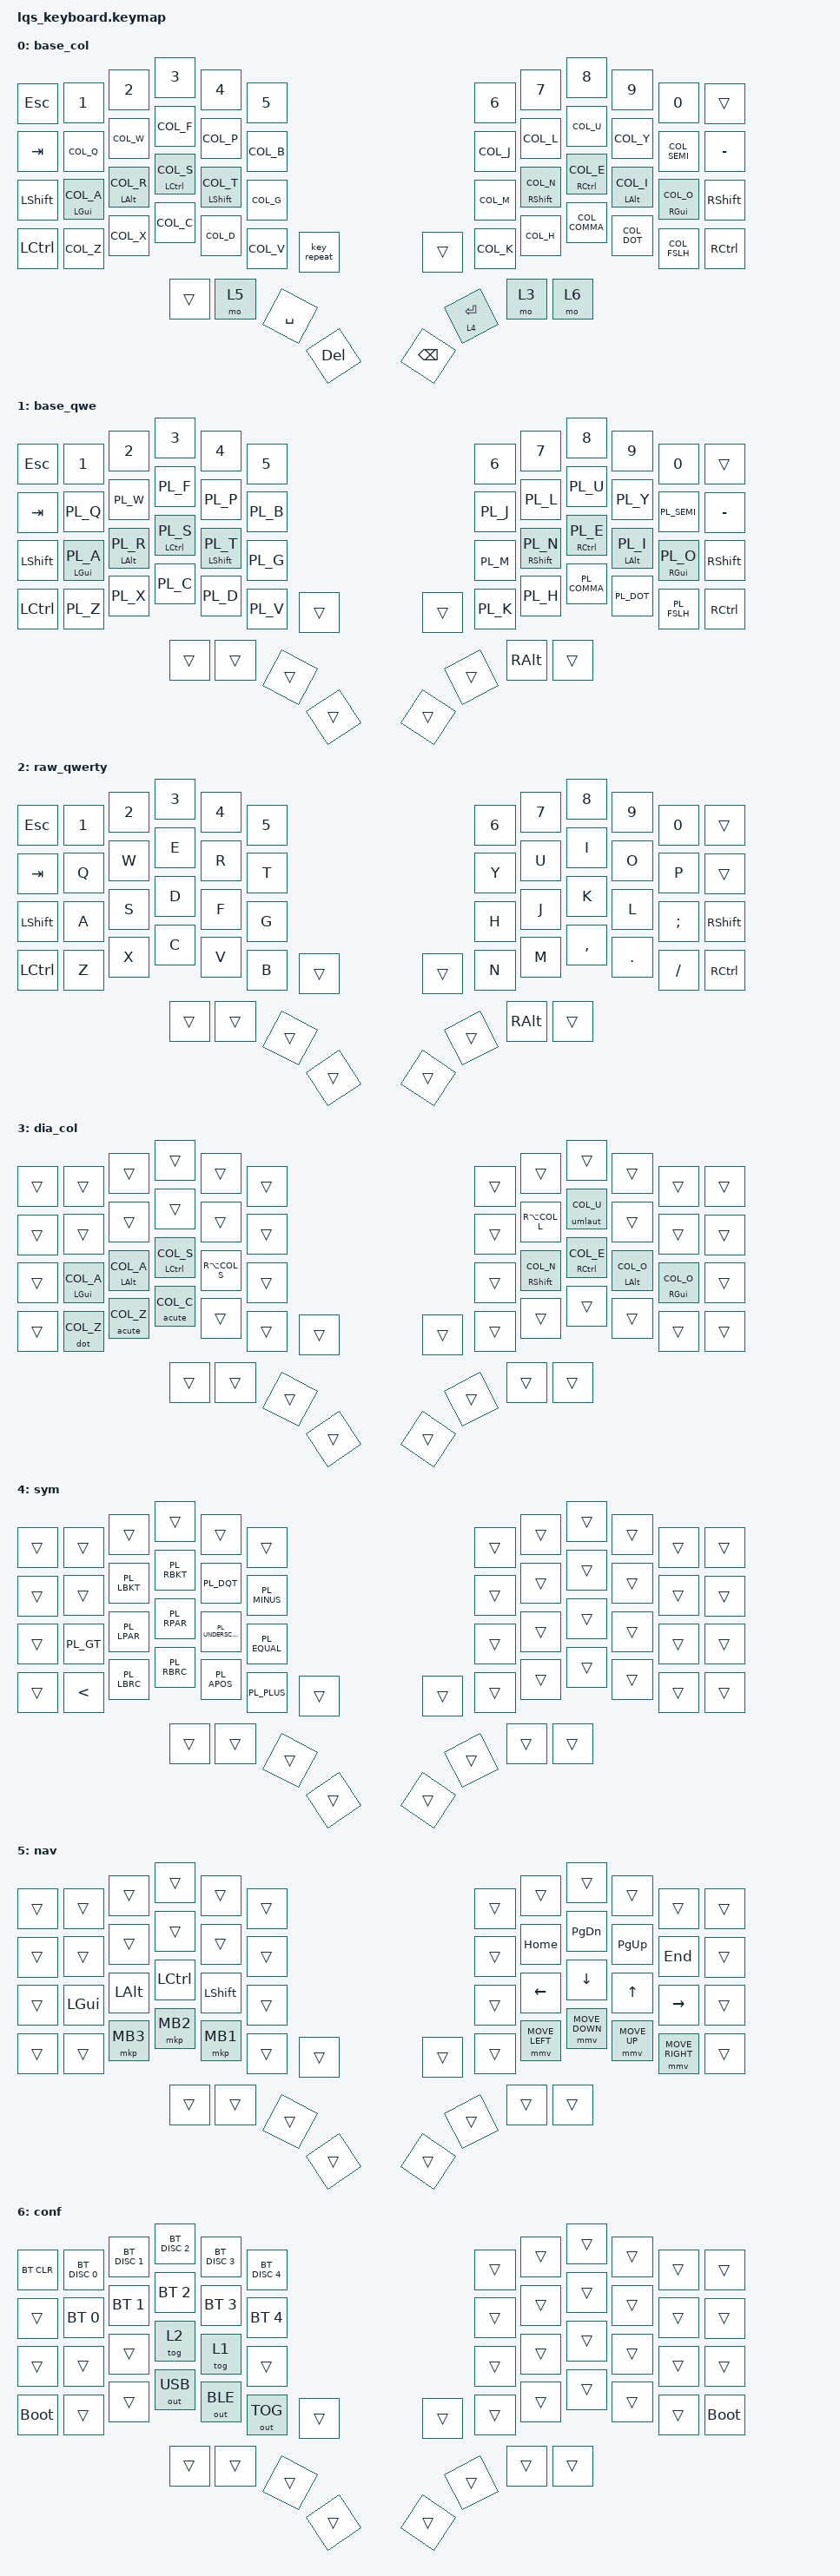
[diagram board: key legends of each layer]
/*
 * Copyright (c) 2020 The ZMK Contributors
 *
 * SPDX-License-Identifier: MIT
 */

#include "keys_pl_programmers.h"
#include "keys_colemak.h"
#include <behaviors/rgbled_widget.dtsi>
#include <behaviors.dtsi>
#include <dt-bindings/zmk/bt.h>
#include <dt-bindings/zmk/keys.h>
#include <dt-bindings/zmk/outputs.h>
#include <dt-bindings/zmk/pointing.h>

// key numbering
//  +-------------------+           +-------------------+
//  | 0  1  2  3  4  5  |           | 6  7  8  9  10 11 |
//  | 12 13 14 15 16 17 |           | 18 19 20 21 22 23 |
//  | 24 25 26 27 28 29 +--+     +--+ 30 31 32 33 34 35 |
//  | 36 37 38 39 40 41 42 |     | 43 44 45 46 47 48 49 |
//  +--------+ 50 51 52 53 |     | 54 55 56 57 +--------+
//           +-------------+     +-------------+

#define KEYS_L 0 1 2 3 4 5 12 13 14 15 16 17 24 25 26 27 28 29 36 37 38 39 40 41
#define KEYS_R 6 7 8 9 10 11 18 19 20 21 22 23 30 31 32 33 34 35 44 45 46 47 48 49
#define THUMB_L 50 51 52 53 42
#define THUMB_R 54 55 56 57 43

/ {
    behaviors {
        hml: hml {
            compatible = "zmk,behavior-hold-tap";
            #binding-cells = <2>;
            flavor = "balanced";
            tapping-term-ms = <280>;
            quick-tap-ms = <175>;
            require-prior-idle-ms = <150>;
            bindings = <&kp>, <&kp>;

            hold-trigger-key-positions = <KEYS_R THUMB_L THUMB_R>;
            hold-trigger-on-release;
            label = "Home row mod left";
        };

        hmr: hmr {
            compatible = "zmk,behavior-hold-tap";
            #binding-cells = <2>;
            flavor = "balanced";
            tapping-term-ms = <280>;
            quick-tap-ms = <175>;
            require-prior-idle-ms = <150>;
            bindings = <&kp>, <&kp>;

            hold-trigger-key-positions = <KEYS_L THUMB_L THUMB_R>;
            hold-trigger-on-release;
            label = "Home row mod right";
        };

        hmla: hmla {
            compatible = "zmk,behavior-hold-tap";
            #binding-cells = <2>;
            flavor = "balanced";
            tapping-term-ms = <280>;
            quick-tap-ms = <175>;
            require-prior-idle-ms = <150>;
            bindings = <&kp>, <&acute>;

            hold-trigger-key-positions = <KEYS_R THUMB_L THUMB_R>;
            hold-trigger-on-release;
            label = "Home row mod left acute";
        };

        hmra: hmra {
            compatible = "zmk,behavior-hold-tap";
            #binding-cells = <2>;
            flavor = "balanced";
            tapping-term-ms = <280>;
            quick-tap-ms = <175>;
            require-prior-idle-ms = <150>;
            bindings = <&kp>, <&acute>;

            hold-trigger-key-positions = <KEYS_L THUMB_L THUMB_R>;
            hold-trigger-on-release;
            label = "Home row mod right acute";
        };

        hmlo: hmlo {
            compatible = "zmk,behavior-hold-tap";
            #binding-cells = <2>;
            flavor = "balanced";
            tapping-term-ms = <280>;
            quick-tap-ms = <175>;
            require-prior-idle-ms = <150>;
            bindings = <&kp>, <&ogonek>;

            hold-trigger-key-positions = <KEYS_R THUMB_L THUMB_R>;
            hold-trigger-on-release;
            label = "Home row mod left ogonek";
        };

        hmro: hmro {
            compatible = "zmk,behavior-hold-tap";
            #binding-cells = <2>;
            flavor = "balanced";
            tapping-term-ms = <280>;
            quick-tap-ms = <175>;
            require-prior-idle-ms = <150>;
            bindings = <&kp>, <&ogonek>;

            hold-trigger-key-positions = <KEYS_L THUMB_L THUMB_R>;
            hold-trigger-on-release;
            label = "Home row mod right ogonek";
        };

        hmlu: hmlu {
            compatible = "zmk,behavior-hold-tap";
            #binding-cells = <2>;
            flavor = "balanced";
            tapping-term-ms = <280>;
            quick-tap-ms = <175>;
            require-prior-idle-ms = <150>;
            bindings = <&kp>, <&umlaut>;

            hold-trigger-key-positions = <KEYS_R THUMB_L THUMB_R>;
            hold-trigger-on-release;
            label = "Home row mod left umlaut";
        };

        hmru: hmru {
            compatible = "zmk,behavior-hold-tap";
            #binding-cells = <2>;
            flavor = "balanced";
            tapping-term-ms = <280>;
            quick-tap-ms = <175>;
            require-prior-idle-ms = <150>;
            bindings = <&kp>, <&umlaut>;

            hold-trigger-key-positions = <KEYS_L THUMB_L THUMB_R>;
            hold-trigger-on-release;
            label = "Home row mod right umlaut";
        };
    };

    macros {
        ogonek: col_ogon {
            compatible = "zmk,behavior-macro-one-param";
            #binding-cells = <1>;
            bindings = <&kp RA(COL_G) &macro_param_1to1 &kp MACRO_PLACEHOLDER>;
            label = "OGONEK";
        };

        acute: acute {
            compatible = "zmk,behavior-macro-one-param";
            #binding-cells = <1>;
            bindings = <&kp RA(COL_T) &macro_param_1to1 &kp MACRO_PLACEHOLDER>;
            label = "ACUTE";
        };

        dot: dot {
            compatible = "zmk,behavior-macro-one-param";
            #binding-cells = <1>;
            bindings = <&kp RA(DOT) &macro_param_1to1 &kp MACRO_PLACEHOLDER>;
            label = "DOT";
        };

        umlaut: umlaut {
            compatible = "zmk,behavior-macro-one-param";
            #binding-cells = <1>;
            bindings = <&kp RA(COL_D) &macro_param_1to1 &kp MACRO_PLACEHOLDER>;
            label = "UMLAUT";
        };
    };

    keymap {
        compatible = "zmk,keymap";

        base_col {
            bindings = <
&kp ESC           &kp N1           &kp N2           &kp N3            &kp N4             &kp N5                                   &kp N6       &kp N7             &kp N8            &kp N9           &kp N0           &trans
&kp TAB           &kp COL_Q        &kp COL_W        &kp COL_F         &kp COL_P          &kp COL_B                                &kp COL_J    &kp COL_L          &kp COL_U         &kp COL_Y        &kp COL_SEMI     &kp MINUS
&kp LEFT_SHIFT    &hml LGUI COL_A  &hml LALT COL_R  &hml LCTRL COL_S  &hml LSHIFT COL_T  &kp COL_G                                &kp COL_M    &hmr RSHIFT COL_N  &hmr RCTRL COL_E  &hmr LALT COL_I  &hmr RGUI COL_O  &kp RSHIFT
&kp LEFT_CONTROL  &kp COL_Z        &kp COL_X        &kp COL_C         &kp COL_D          &kp COL_V  &key_repeat    &trans         &kp COL_K    &kp COL_H          &kp COL_COMMA     &kp COL_DOT      &kp COL_FSLH     &kp RIGHT_CONTROL
                                                    &trans            &mo 5              &kp SPACE  &kp DEL        &kp BACKSPACE  &lt 4 ENTER  &mo 3              &mo 6
            >;
        };

        base_qwe {
            bindings = <
&kp ESC           &kp N1          &kp N2          &kp N3           &kp N4            &kp N5                      &kp N6    &kp N7            &kp N8           &kp N9          &kp N0          &trans
&kp TAB           &kp PL_Q        &kp PL_W        &kp PL_F         &kp PL_P          &kp PL_B                    &kp PL_J  &kp PL_L          &kp PL_U         &kp PL_Y        &kp PL_SEMI     &kp MINUS
&kp LEFT_SHIFT    &hml LGUI PL_A  &hml LALT PL_R  &hml LCTRL PL_S  &hml LSHIFT PL_T  &kp PL_G                    &kp PL_M  &hmr RSHIFT PL_N  &hmr RCTRL PL_E  &hmr LALT PL_I  &hmr RGUI PL_O  &kp RSHIFT
&kp LEFT_CONTROL  &kp PL_Z        &kp PL_X        &kp PL_C         &kp PL_D          &kp PL_V  &trans    &trans  &kp PL_K  &kp PL_H          &kp PL_COMMA     &kp PL_DOT      &kp PL_FSLH     &kp RIGHT_CONTROL
                                                  &trans           &trans            &trans    &trans    &trans  &trans    &kp RALT          &trans
            >;
        };

        raw_qwerty {
            bindings = <
&kp ESC     &kp N1  &kp N2  &kp N3  &kp N4  &kp N5                    &kp N6  &kp N7    &kp N8     &kp N9   &kp N0    &trans
&kp TAB     &kp Q   &kp W   &kp E   &kp R   &kp T                     &kp Y   &kp U     &kp I      &kp O    &kp P     &trans
&kp LSHIFT  &kp A   &kp S   &kp D   &kp F   &kp G                     &kp H   &kp J     &kp K      &kp L    &kp SEMI  &kp RSHIFT
&kp LCTRL   &kp Z   &kp X   &kp C   &kp V   &kp B   &trans    &trans  &kp N   &kp M     &kp COMMA  &kp DOT  &kp FSLH  &kp RCTRL
                            &trans  &trans  &trans  &trans    &trans  &trans  &kp RALT  &trans
            >;
        };

        dia_col {
            bindings = <
&trans  &trans            &trans            &trans             &trans         &trans                    &trans  &trans              &trans             &trans            &trans            &trans
&trans  &trans            &trans            &trans             &trans         &trans                    &trans  &kp RA(COL_L)       &umlaut COL_U      &trans            &trans            &trans
&trans  &hmlo LGUI COL_A  &hmlu LALT COL_A  &hmla LCTRL COL_S  &kp RA(COL_S)  &trans                    &trans  &hmra RSHIFT COL_N  &hmro RCTRL COL_E  &hmru LALT COL_O  &hmra RGUI COL_O  &trans
&trans  &dot COL_Z        &acute COL_Z      &acute COL_C       &trans         &trans  &trans    &trans  &trans  &trans              &trans             &trans            &trans            &trans
                                            &trans             &trans         &trans  &trans    &trans  &trans  &trans              &trans
            >;
        };

        sym {
            bindings = <
&trans  &trans     &trans       &trans       &trans             &trans                          &trans  &trans  &trans  &trans  &trans  &trans
&trans  &trans     &kp PL_LBKT  &kp PL_RBKT  &kp PL_DQT         &kp PL_MINUS                    &trans  &trans  &trans  &trans  &trans  &trans
&trans  &kp PL_GT  &kp PL_LPAR  &kp PL_RPAR  &kp PL_UNDERSCORE  &kp PL_EQUAL                    &trans  &trans  &trans  &trans  &trans  &trans
&trans  &kp LT     &kp PL_LBRC  &kp PL_RBRC  &kp PL_APOS        &kp PL_PLUS   &trans    &trans  &trans  &trans  &trans  &trans  &trans  &trans
                                &trans       &trans             &trans        &trans    &trans  &trans  &trans  &trans
            >;
        };

        nav {
            bindings = <
&trans  &trans    &trans    &trans     &trans      &trans                    &trans  &trans          &trans          &trans        &trans           &trans
&trans  &trans    &trans    &trans     &trans      &trans                    &trans  &kp HOME        &kp PG_DN       &kp PG_UP     &kp END          &trans
&trans  &kp LGUI  &kp LALT  &kp LCTRL  &kp LSHIFT  &trans                    &trans  &kp LEFT        &kp DOWN        &kp UP        &kp RIGHT        &trans
&trans  &trans    &mkp MB3  &mkp MB2   &mkp MB1    &trans  &trans    &trans  &trans  &mmv MOVE_LEFT  &mmv MOVE_DOWN  &mmv MOVE_UP  &mmv MOVE_RIGHT  &trans
                            &trans     &trans      &trans  &trans    &trans  &trans  &trans          &trans
            >;
        };

        conf {
            bindings = <
&bt BT_CLR   &bt BT_DISC 0  &bt BT_DISC 1  &bt BT_DISC 2  &bt BT_DISC 3  &bt BT_DISC 4                    &trans  &trans  &trans  &trans  &trans  &trans
&trans       &bt BT_SEL 0   &bt BT_SEL 1   &bt BT_SEL 2   &bt BT_SEL 3   &bt BT_SEL 4                     &trans  &trans  &trans  &trans  &trans  &trans
&trans       &trans         &trans         &tog 2         &tog 1         &trans                           &trans  &trans  &trans  &trans  &trans  &trans
&bootloader  &trans         &trans         &out OUT_USB   &out OUT_BLE   &out OUT_TOG   &trans    &trans  &trans  &trans  &trans  &trans  &trans  &bootloader
                                           &trans         &trans         &trans         &trans    &trans  &trans  &trans  &trans
            >;
        };
    };
};
